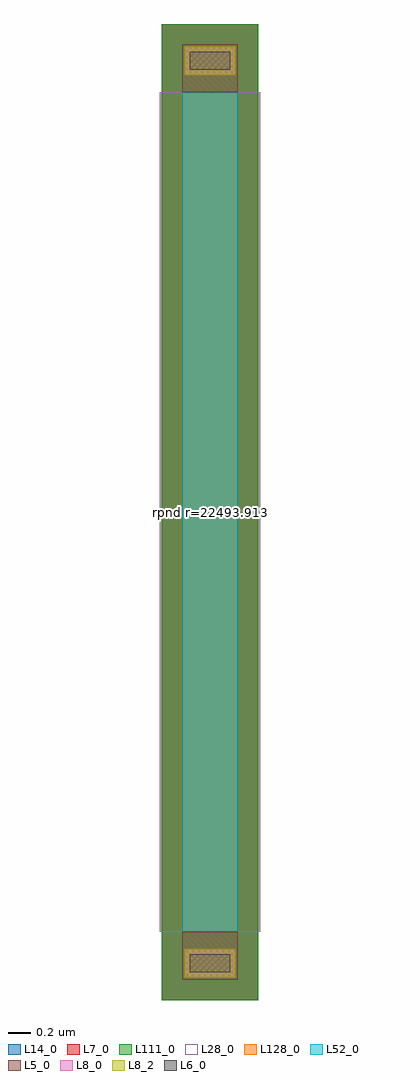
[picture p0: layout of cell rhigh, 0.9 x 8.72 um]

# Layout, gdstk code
import gdstk
lib = gdstk.Library(unit=1e-6, precision=1e-09)
def R(c, l, rs):  # rectangles x0, y0, x1, y1
    for r in rs: c.add(gdstk.rectangle(r[:2], r[2:], *l))
L5_0 = (5, 0)
L6_0 = (6, 0)
L7_0 = (7, 0)
L8_0 = (8, 0)
L8_2 = (8, 2)
L14_0 = (14, 0)
L28_0 = (28, 0)
L52_0 = (52, 0)
L111_0 = (111, 0)
L128_0 = (128, 0)

rhigh = lib.new_cell('rhigh')
R(rhigh, L5_0, [(0,-0.43,0.5,0), (0,7.5,0.5,7.93)])
R(rhigh, L6_0, [(0.07,-0.36,0.43,-0.2), (0.07,7.7,0.43,7.86)])
R(rhigh, L7_0, [(-0.18,-0.61,0.68,0.18), (-0.18,0,0.68,7.5), (-0.18,0,0.68,7.5), (-0.18,7.32,0.68,8.11)])
R(rhigh, L8_0, [(0.02,-0.41,0.48,-0.15), (0.02,7.65,0.48,7.91)])
R(rhigh, L8_2, [(0.02,-0.41,0.48,-0.15), (0.02,7.65,0.48,7.91)])
R(rhigh, L14_0, [(-0.18,-0.61,0.68,0.18), (-0.18,0,0.68,7.5), (-0.18,0,0.68,7.5), (-0.18,7.32,0.68,8.11)])
R(rhigh, L28_0, [(-0.2,0,0.7,7.5)])
R(rhigh, L52_0, [(0,0,0.5,7.5)])
R(rhigh, L111_0, [(-0.18,-0.61,0.68,0.18), (-0.2,0,0.7,7.5), (-0.18,7.32,0.68,8.11)])
R(rhigh, L128_0, [(0,0,0.5,7.5)])
rhigh.add(gdstk.Label('rpnd r=22493.913', (0.25,3.75), layer=63, texttype=0))
rhigh.add(gdstk.Label('rhigh', (0.25,3.75), layer=52, texttype=0))

lib.write_gds('rhigh.gds')
